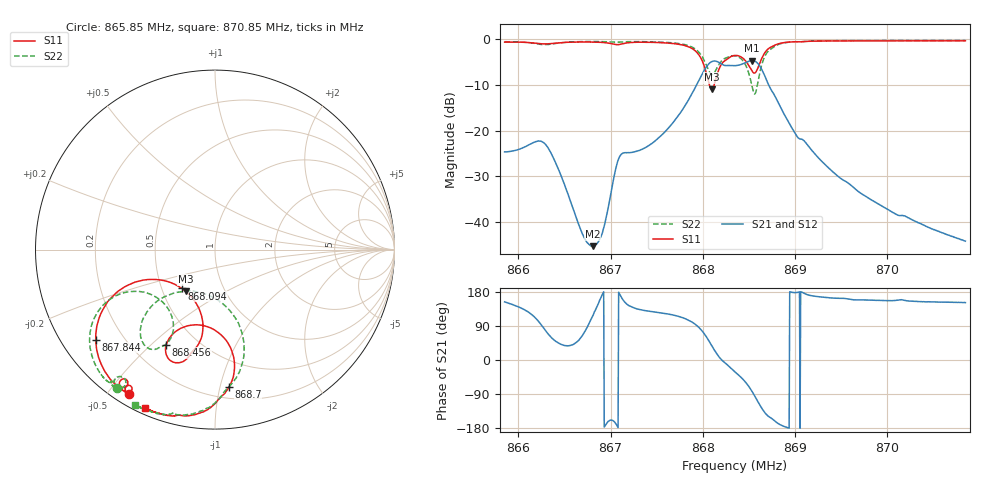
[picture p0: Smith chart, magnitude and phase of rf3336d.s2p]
# Hz S RI R 50
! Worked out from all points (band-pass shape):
!   801 points, 865.85 MHz to 870.85 MHz, reference 50 ohm
!   highest |S21| = -4.63 dB at 868.538 MHz (marker M1); lowest = -45.3 dB at 866.806 MHz (marker M2)
!   |S21| within 3 dB of the highest: 867.9928 MHz to 868.6655 MHz (672.7 kHz wide, 0.0775 % of centre)
!   lowest |S11| = -10.9 dB at 868.1 MHz (marker M3), VSWR 1.79, Z = 32.7 - j16.5 ohm
!   |S11| at or under -10 dB: 868.073 MHz to 868.1226 MHz (49.6 kHz wide, 0.00571 % of centre)
!   |S22| runs from -12.0 to -0.2 dB; largest |S21 - S12| = 0.0032
!   S11 on the Smith chart (normalised r, x): 865.85 MHz: 0.04, -0.57; 867.844 MHz: 0.10, -0.33; 868.094 MHz: 0.64, -0.30; 868.456 MHz: 0.34, -0.56; 868.7 MHz: 0.28, -1.06; 870.85 MHz: 0.02, -0.65
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8.6585e8  -0.481 -0.8025  -0.0524 0.0262  -0.0522 0.026  -0.5487 -0.7684
8.662875e8  -0.471 -0.7585  0.0127 0.0708  0.0128 0.0707  -0.51 -0.7125
8.666875e8  -0.5062 -0.789  0.00354 0.00683  0.00356 0.00679  -0.5483 -0.7739
8.668062e8  -0.5203 -0.778  -0.00242 0.00485  -0.00247 0.00485  -0.5635 -0.7645
8.669125e8  -0.5323 -0.7589  -0.00762 0.000833  -0.00762 0.000785  -0.5746 -0.7543
8.671062e8  -0.486 -0.7408  -0.0529 0.00913  -0.0528 0.00914  -0.575 -0.7376
8.675188e8  -0.5926 -0.7101  -0.048 0.0676  -0.0482 0.0674  -0.6458 -0.6807
8.678438e8  -0.6644 -0.5014  -0.0569 0.2082  -0.0576 0.2079  -0.6984 -0.4957
8.67975e8  -0.5774 -0.2683  0.0555 0.3795  0.0552 0.3797  -0.6201 -0.306
8.680938e8  -0.1834 -0.2167  0.4391 0.3612  0.4399 0.361  -0.307 -0.2795
8.681e8  -0.1634 -0.232  0.4584 0.3435  0.4587 0.3437  -0.2919 -0.292
8.682125e8  -0.1029 -0.5426  0.5331 -0.0152  0.532 -0.0146  -0.2734 -0.5273
8.6835e8  -0.2264 -0.6285  0.4404 -0.2695  0.4397 -0.2692  -0.3896 -0.5359
8.684562e8  -0.2719 -0.5301  0.3073 -0.459  0.3065 -0.4592  -0.3954 -0.3741
8.685375e8  -0.1432 -0.4226  0.062 -0.5832  0.0639 -0.5826  -0.1862 -0.2345
8.68575e8  -0.0224 -0.4371  -0.0972 -0.5631  -0.0957 -0.5632  -0.017 -0.2627
8.686188e8  0.0858 -0.5445  -0.2482 -0.448  -0.2458 -0.4485  0.1312 -0.4108
8.687e8  0.0766 -0.7663  -0.2842 -0.1926  -0.2846 -0.1925  0.1185 -0.7142
8.688625e8  -0.0877 -0.9113  -0.1645 -0.0195  -0.1647 -0.0193  -0.0887 -0.9054
8.691875e8  -0.2435 -0.9263  -0.0592 0.0111  -0.059 0.011  -0.2856 -0.9161
8.700188e8  -0.3535 -0.8997  -0.0124 0.00537  -0.0124 0.00537  -0.4115 -0.8819
8.7085e8  -0.389 -0.8849  -0.0054 0.00294  -0.00542 0.00297  -0.4479 -0.8649
